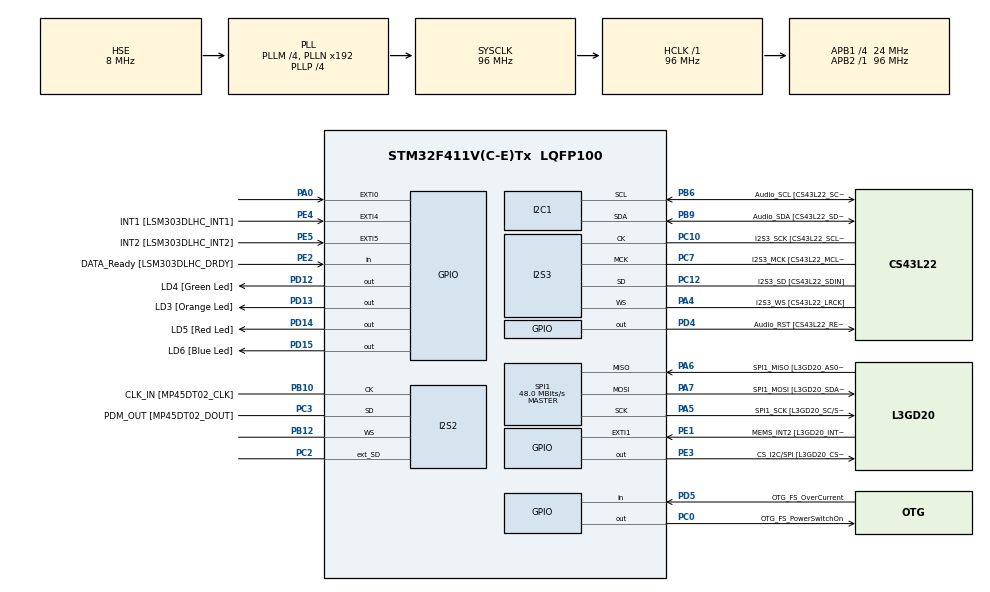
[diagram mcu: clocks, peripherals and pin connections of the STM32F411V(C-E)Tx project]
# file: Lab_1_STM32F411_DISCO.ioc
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I2S2.AudioFreq=I2S_AUDIOFREQ_96K
I2S2.ErrorAudioFreq=0.15 %
I2S2.FullDuplexMode=I2S_FULLDUPLEXMODE_ENABLE
I2S2.Instance=SPI$Index
I2S2.RealAudioFreq=96.153 KHz
I2S2.VirtualMode=I2S_MODE_MASTER
I2S3.AudioFreq=I2S_AUDIOFREQ_96K
I2S3.ErrorAudioFreq=-6.99 %
I2S3.FullDuplexMode=I2S_FULLDUPLEXMODE_DISABLE
I2S3.Instance=SPI$Index
I2S3.RealAudioFreq=89.285 KHz
I2S3.VirtualMode=I2S_MODE_MASTER
Mcu.Family=STM32F4
Mcu.Name=STM32F411V(C-E)Tx
Mcu.Package=LQFP100
NVIC.PriorityGroup=NVIC_PRIORITYGROUP_0
PA0-WKUP.GPIO_ModeDefaultEXTI=GPIO_MODE_EVT_RISING
PA0-WKUP.Signal=GPXTI0
PA10.GPIO_Label=OTG_FS_ID
PA10.Signal=USB_OTG_FS_ID
PA11.GPIO_Label=OTG_FS_DM
PA11.Signal=USB_OTG_FS_DM
PA12.GPIO_Label=OTG_FS_DP
PA12.Signal=USB_OTG_FS_DP
PA13.GPIO_Label=SWDIO
PA13.Mode=Serial_Wire
PA13.Signal=SYS_JTMS-SWDIO
PA14.GPIO_Label=SWCLK
PA14.Mode=Serial_Wire
PA14.Signal=SYS_JTCK-SWCLK
PA4.GPIO_Label=I2S3_WS [CS43L22_LRCK]
PA4.GPIO_Mode=GPIO_MODE_AF_PP
PA4.GPIO_PuPd=GPIO_NOPULL
PA4.GPIO_Speed=GPIO_SPEED_FREQ_LOW
PA4.Mode=Half_Duplex_Master
PA4.Signal=I2S3_WS
PA5.GPIO_Label=SPI1_SCK [L3GD20_SC/SPC]
PA5.Mode=Full_Duplex_Master
PA5.Signal=SPI1_SCK
PA6.GPIO_Label=SPI1_MISO [L3GD20_AS0/SDO]
PA6.Mode=Full_Duplex_Master
PA6.Signal=SPI1_MISO
PA7.GPIO_Label=SPI1_MOSI [L3GD20_SDA/SDI/SDO]
PA7.Mode=Full_Duplex_Master
PA7.Signal=SPI1_MOSI
PA9.GPIO_Label=VBUS_FS
PA9.Signal=USB_OTG_FS_VBUS
PB10.GPIO_Label=CLK_IN [MP45DT02_CLK]
PB10.Mode=Full_Duplex_Master
PB10.Signal=I2S2_CK
PB12.Mode=Full_Duplex_Master
PB12.Signal=I2S2_WS
PB3.GPIO_Label=SWO
PB3.Signal=SYS_JTDO-SWO
PB6.GPIO_Label=Audio_SCL [CS43L22_SCL]
PB6.GPIO_Mode=GPIO_MODE_AF_OD
PB6.GPIO_Pu=GPIO_PULLUP
PB6.GPIO_PuPd=GPIO_NOPULL
PB6.GPIO_Speed=GPIO_SPEED_FREQ_LOW
PB6.Mode=I2C
PB6.Signal=I2C1_SCL
PB9.GPIO_Label=Audio_SDA [CS43L22_SDA]
PB9.GPIO_Mode=GPIO_MODE_AF_OD
PB9.GPIO_Pu=GPIO_PULLUP
PB9.GPIO_PuPd=GPIO_NOPULL
PB9.GPIO_Speed=GPIO_SPEED_FREQ_LOW
PB9.Mode=I2C
PB9.Signal=I2C1_SDA
PC0.GPIO_Label=OTG_FS_PowerSwitchOn
PC0.PinState=GPIO_PIN_SET
PC0.Signal=GPIO_Output
PC10.GPIO_Label=I2S3_SCK [CS43L22_SCLK]
PC10.GPIO_Mode=GPIO_MODE_AF_PP
PC10.GPIO_PuPd=GPIO_NOPULL
PC10.GPIO_Speed=GPIO_SPEED_FREQ_LOW
PC10.Mode=Half_Duplex_Master
PC10.Signal=I2S3_CK
PC12.GPIO_Label=I2S3_SD [CS43L22_SDIN]
PC12.GPIO_Mode=GPIO_MODE_AF_PP
PC12.GPIO_PuPd=GPIO_NOPULL
PC12.GPIO_Speed=GPIO_SPEED_FREQ_LOW
PC12.Mode=Half_Duplex_Master
PC12.Signal=I2S3_SD
PC14-OSC32_IN.GPIO_Label=PC14-OSC32_IN
PC14-OSC32_IN.Mode=LSE-External-Oscillator
PC14-OSC32_IN.Signal=RCC_OSC32_IN
PC15-OSC32_OUT.GPIO_Label=PC15-OSC32_OUT
PC15-OSC32_OUT.Mode=LSE-External-Oscillator
PC15-OSC32_OUT.Signal=RCC_OSC32_OUT
PC2.Mode=Full_Duplex_Master
PC2.Signal=I2S2_ext_SD
PC3.GPIO_Label=PDM_OUT [MP45DT02_DOUT]
PC3.Mode=Full_Duplex_Master
PC3.Signal=I2S2_SD
PC7.GPIO_Label=I2S3_MCK [CS43L22_MCLK]
PC7.GPIO_Mode=GPIO_MODE_AF_PP
PC7.GPIO_PuPd=GPIO_NOPULL
PC7.GPIO_Speed=GPIO_SPEED_FREQ_LOW
PC7.Mode=Master_Clock_Activated
PC7.Signal=I2S3_MCK
PD12.GPIO_Label=LD4 [Green Led]
PD12.GPIO_PuPd=GPIO_NOPULL
PD12.GPIO_Speed=GPIO_SPEED_FREQ_LOW
PD12.Signal=GPIO_Output
PD13.GPIO_Label=LD3 [Orange Led]
PD13.GPIO_PuPd=GPIO_NOPULL
PD13.GPIO_Speed=GPIO_SPEED_FREQ_LOW
PD13.Signal=GPIO_Output
PD14.GPIO_Label=LD5 [Red Led]
PD14.GPIO_PuPd=GPIO_NOPULL
PD14.GPIO_Speed=GPIO_SPEED_FREQ_LOW
PD14.Signal=GPIO_Output
PD15.GPIO_Label=LD6 [Blue Led]
PD15.GPIO_PuPd=GPIO_NOPULL
PD15.GPIO_Speed=GPIO_SPEED_FREQ_LOW
PD15.Signal=GPIO_Output
PD4.GPIO_Label=Audio_RST [CS43L22_RESET]
PD4.Signal=GPIO_Output
PD5.GPIO_Label=OTG_FS_OverCurrent
PD5.Signal=GPIO_Input
PE1.GPIO_Label=MEMS_INT2 [L3GD20_INT2]
PE1.GPIO_ModeDefaultEXTI=GPIO_MODE_EVT_RISING
PE1.Signal=GPXTI1
PE2.GPIO_Label=DATA_Ready [LSM303DLHC_DRDY]
PE2.Signal=GPIO_Input
PE3.GPIO_Label=CS_I2C/SPI [L3GD20_CS_I2C/SPI]
PE3.Signal=GPIO_Output
PE4.GPIO_Label=INT1 [LSM303DLHC_INT1]
PE4.GPIO_ModeDefaultEXTI=GPIO_MODE_EVT_RISING
PE4.Signal=GPXTI4
PE5.GPIO_Label=INT2 [LSM303DLHC_INT2]
PE5.GPIO_ModeDefaultEXTI=GPIO_MODE_EVT_RISING
PE5.Signal=GPXTI5
PH0\ -\ OSC_IN.GPIO_Label=PH0-OSC_IN
PH0\ -\ OSC_IN.Mode=HSE-External-Oscillator
PH0\ -\ OSC_IN.Signal=RCC_OSC_IN
PH1\ -\ OSC_OUT.GPIO_Label=PH1-OSC_OUT
PH1\ -\ OSC_OUT.Mode=HSE-External-Oscillator
PH1\ -\ OSC_OUT.Signal=RCC_OSC_OUT
ProjectManager.HeapSize=0x200
ProjectManager.StackSize=0x400
ProjectManager.TargetToolchain=STM32CubeIDE
RCC.48MHZClocksFreq_Value=48000000
RCC.AHBFreq_Value=96000000
RCC.APB1CLKDivider=RCC_HCLK_DIV4
RCC.APB1Freq_Value=24000000
RCC.APB1TimFreq_Value=48000000
RCC.APB2Freq_Value=96000000
RCC.APB2TimFreq_Value=96000000
RCC.CortexFreq_Value=96000000
RCC.HCLKFreq_Value=96000000
RCC.HSE_VALUE=8000000
RCC.HSI_VALUE=16000000
RCC.PLLI2SM=5
RCC.PLLI2SN=200
RCC.PLLM=4
RCC.PLLP=RCC_PLLP_DIV4
RCC.PLLQ=8
RCC.PLLSourceVirtual=RCC_PLLSOURCE_HSE
RCC.SYSCLKFreq_VALUE=96000000
RCC.SYSCLKSource=RCC_SYSCLKSOURCE_PLLCLK
RCC.VCOOutputFreq_Value=384000000
SPI1.BaudRatePrescaler=SPI_BAUDRATEPRESCALER_2
SPI1.CalculateBaudRate=48.0 MBits/s
SPI1.Direction=SPI_DIRECTION_2LINES
SPI1.Mode=SPI_MODE_MASTER
SPI1.VirtualType=VM_MASTER
board=STM32F411E-DISCO

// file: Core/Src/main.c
/* USER CODE BEGIN Header */
/**
  ******************************************************************************
  * @file           : main.c
  * @brief          : Main program body
  ******************************************************************************
  * @attention
  *
  * Copyright (c) 2025 STMicroelectronics.
  * All rights reserved.
  *
  * This software is licensed under terms that can be found in the LICENSE file
  * in the root directory of this software component.
  * If no LICENSE file comes with this software, it is provided AS-IS.
  *
  ******************************************************************************
  */
/* USER CODE END Header */
#include "main.h"
#include <stdio.h>

/* USER CODE BEGIN PD */
#define ITM_Port32(n) (*((volatile unsigned long *)(0xE0000000+4*n)))
/* USER CODE END PD */

I2C_HandleTypeDef hi2c1;

I2S_HandleTypeDef hi2s2;
I2S_HandleTypeDef hi2s3;

SPI_HandleTypeDef hspi1;

void SystemClock_Config(void);
void PeriphCommonClock_Config(void);
static void MX_GPIO_Init(void);
static void MX_I2C1_Init(void);
static void MX_I2S2_Init(void);
static void MX_I2S3_Init(void);
static void MX_SPI1_Init(void);

/* USER CODE BEGIN 0 */

int _write(int file, char* ptr, int len) {
	int DataIdx;
	for (DataIdx = 0; DataIdx < len; DataIdx++) {
		ITM_SendChar(*ptr++);
	}
	return len;
}

int test_assembly(int a, int b) {
	int res = 0;
	__asm volatile ("ADD %[result], %[input_i], %[input_b]"
		: [result] "=r" (res)
		: [input_i] "r" (a), [input_b] "r" (b)
	);
	return res;
}

void BasicLoopTest(void){
	for(int i; i<2000000;){
		i++;
	}

}

void FloatingExperiment(void) {
	float a = 100.8;
	float b = 0.4;
	float c = a * b;
}

void FixedExperiment(void) {
	int16_t a = 0.5;
	int16_t b = 0.125; // should be 0.125;
	int16_t c = a * b; // leave this as is initially
}

/* USER CODE END 0 */
uint8_t loop = 0;
int main(void)
{

  /* MCU Configuration--------------------------------------------------------*/

  /* Reset of all peripherals, Initializes the Flash interface and the Systick. */
  HAL_Init();

  /* Configure the system clock */
  SystemClock_Config();

  /* Configure the peripherals common clocks */
  PeriphCommonClock_Config();

  /* Initialize all configured peripherals */
  MX_GPIO_Init();
  MX_I2C1_Init();
  MX_I2S2_Init();
  MX_I2S3_Init();
  MX_SPI1_Init();

  /* USER CODE BEGIN 2 */
  HAL_SuspendTick();

  ITM_Port32(31) = 1;
//  BasicLoopTest();
  FloatingExperiment();
  ITM_Port32(31) = 2;
  /* USER CODE END 2 */

  /* Infinite loop */
  /* USER CODE BEGIN WHILE */
//  loop = test_assembly(98, 1);
//  printf(" Lee Evans\nJan 30th, 2025\n\n");
//  printf("Why did the Serial Wire Debug (SWD) interface break up with JTAG? \n\nBecause SWD wanted a single, dedicated connection, but JTAG kept bringing too many lines into the relationship!\n");

  while (1)
  {
    /* USER CODE END WHILE */
	  //	  printf("Hello erff\n");
//	  HAL_GPIO_TogglePin(LD3_GPIO_Port, LD3_Pin);
//	  HAL_Delay(1000);
//
//	  if(loop<100){
//		  loop++;
//	  }else{
//		  loop = 0;
//	  }
  }
}

void SystemClock_Config(void)
{
  RCC_OscInitTypeDef RCC_OscInitStruct = {0};
  RCC_ClkInitTypeDef RCC_ClkInitStruct = {0};

  /** Configure the main internal regulator output voltage
  */
  __HAL_RCC_PWR_CLK_ENABLE();
  __HAL_PWR_VOLTAGESCALING_CONFIG(PWR_REGULATOR_VOLTAGE_SCALE1);

  /** Initializes the RCC Oscillators according to the specified parameters
  * in the RCC_OscInitTypeDef structure.
  */
  RCC_OscInitStruct.OscillatorType = RCC_OSCILLATORTYPE_HSE;
  RCC_OscInitStruct.HSEState = RCC_HSE_ON;
  RCC_OscInitStruct.PLL.PLLState = RCC_PLL_ON;
  RCC_OscInitStruct.PLL.PLLSource = RCC_PLLSOURCE_HSE;
  RCC_OscInitStruct.PLL.PLLM = 4;
  RCC_OscInitStruct.PLL.PLLN = 192;
  RCC_OscInitStruct.PLL.PLLP = RCC_PLLP_DIV4;
  RCC_OscInitStruct.PLL.PLLQ = 8;
  if (HAL_RCC_OscConfig(&RCC_OscInitStruct) != HAL_OK)
  {
    Error_Handler();
  }

  /** Initializes the CPU, AHB and APB buses clocks
  */
  RCC_ClkInitStruct.ClockType = RCC_CLOCKTYPE_HCLK|RCC_CLOCKTYPE_SYSCLK
                              |RCC_CLOCKTYPE_PCLK1|RCC_CLOCKTYPE_PCLK2;
  RCC_ClkInitStruct.SYSCLKSource = RCC_SYSCLKSOURCE_PLLCLK;
  RCC_ClkInitStruct.AHBCLKDivider = RCC_SYSCLK_DIV1;
  RCC_ClkInitStruct.APB1CLKDivider = RCC_HCLK_DIV4;
  RCC_ClkInitStruct.APB2CLKDivider = RCC_HCLK_DIV1;

  if (HAL_RCC_ClockConfig(&RCC_ClkInitStruct, FLASH_LATENCY_3) != HAL_OK)
  {
    Error_Handler();
  }
}

void PeriphCommonClock_Config(void)
{
  RCC_PeriphCLKInitTypeDef PeriphClkInitStruct = {0};

  /** Initializes the peripherals clock
  */
  PeriphClkInitStruct.PeriphClockSelection = RCC_PERIPHCLK_I2S;
  PeriphClkInitStruct.PLLI2S.PLLI2SN = 200;
  PeriphClkInitStruct.PLLI2S.PLLI2SM = 5;
  PeriphClkInitStruct.PLLI2S.PLLI2SR = 2;
  if (HAL_RCCEx_PeriphCLKConfig(&PeriphClkInitStruct) != HAL_OK)
  {
    Error_Handler();
  }
}

static void MX_I2C1_Init(void)
{

  hi2c1.Instance = I2C1;
  hi2c1.Init.ClockSpeed = 100000;
  hi2c1.Init.DutyCycle = I2C_DUTYCYCLE_2;
  hi2c1.Init.OwnAddress1 = 0;
  hi2c1.Init.AddressingMode = I2C_ADDRESSINGMODE_7BIT;
  hi2c1.Init.DualAddressMode = I2C_DUALADDRESS_DISABLE;
  hi2c1.Init.OwnAddress2 = 0;
  hi2c1.Init.GeneralCallMode = I2C_GENERALCALL_DISABLE;
  hi2c1.Init.NoStretchMode = I2C_NOSTRETCH_DISABLE;
  if (HAL_I2C_Init(&hi2c1) != HAL_OK)
  {
    Error_Handler();
  }

}

static void MX_I2S2_Init(void)
{

  hi2s2.Instance = SPI2;
  hi2s2.Init.Mode = I2S_MODE_MASTER_TX;
  hi2s2.Init.Standard = I2S_STANDARD_PHILIPS;
  hi2s2.Init.DataFormat = I2S_DATAFORMAT_16B;
  hi2s2.Init.MCLKOutput = I2S_MCLKOUTPUT_DISABLE;
  hi2s2.Init.AudioFreq = I2S_AUDIOFREQ_96K;
  hi2s2.Init.CPOL = I2S_CPOL_LOW;
  hi2s2.Init.ClockSource = I2S_CLOCK_PLL;
  hi2s2.Init.FullDuplexMode = I2S_FULLDUPLEXMODE_ENABLE;
  if (HAL_I2S_Init(&hi2s2) != HAL_OK)
  {
    Error_Handler();
  }

}

static void MX_I2S3_Init(void)
{

  hi2s3.Instance = SPI3;
  hi2s3.Init.Mode = I2S_MODE_MASTER_TX;
  hi2s3.Init.Standard = I2S_STANDARD_PHILIPS;
  hi2s3.Init.DataFormat = I2S_DATAFORMAT_16B;
  hi2s3.Init.MCLKOutput = I2S_MCLKOUTPUT_ENABLE;
  hi2s3.Init.AudioFreq = I2S_AUDIOFREQ_96K;
  hi2s3.Init.CPOL = I2S_CPOL_LOW;
  hi2s3.Init.ClockSource = I2S_CLOCK_PLL;
  hi2s3.Init.FullDuplexMode = I2S_FULLDUPLEXMODE_DISABLE;
  if (HAL_I2S_Init(&hi2s3) != HAL_OK)
  {
    Error_Handler();
  }

}

static void MX_SPI1_Init(void)
{

  /* SPI1 parameter configuration*/
  hspi1.Instance = SPI1;
  hspi1.Init.Mode = SPI_MODE_MASTER;
  hspi1.Init.Direction = SPI_DIRECTION_2LINES;
  hspi1.Init.DataSize = SPI_DATASIZE_8BIT;
  hspi1.Init.CLKPolarity = SPI_POLARITY_LOW;
  hspi1.Init.CLKPhase = SPI_PHASE_1EDGE;
  hspi1.Init.NSS = SPI_NSS_SOFT;
  hspi1.Init.BaudRatePrescaler = SPI_BAUDRATEPRESCALER_2;
  hspi1.Init.FirstBit = SPI_FIRSTBIT_MSB;
  hspi1.Init.TIMode = SPI_TIMODE_DISABLE;
  hspi1.Init.CRCCalculation = SPI_CRCCALCULATION_DISABLE;
  hspi1.Init.CRCPolynomial = 10;
  if (HAL_SPI_Init(&hspi1) != HAL_OK)
  {
    Error_Handler();
  }

}

static void MX_GPIO_Init(void)
{
  GPIO_InitTypeDef GPIO_InitStruct = {0};

  /* GPIO Ports Clock Enable */
  __HAL_RCC_GPIOE_CLK_ENABLE();
  __HAL_RCC_GPIOC_CLK_ENABLE();
  __HAL_RCC_GPIOH_CLK_ENABLE();
  __HAL_RCC_GPIOA_CLK_ENABLE();
  __HAL_RCC_GPIOB_CLK_ENABLE();
  __HAL_RCC_GPIOD_CLK_ENABLE();

  /*Configure GPIO pin Output Level */
  HAL_GPIO_WritePin(CS_I2C_SPI_GPIO_Port, CS_I2C_SPI_Pin, GPIO_PIN_RESET);

  /*Configure GPIO pin Output Level */
  HAL_GPIO_WritePin(OTG_FS_PowerSwitchOn_GPIO_Port, OTG_FS_PowerSwitchOn_Pin, GPIO_PIN_SET);

  /*Configure GPIO pin Output Level */
  HAL_GPIO_WritePin(GPIOD, LD4_Pin|LD3_Pin|LD5_Pin|LD6_Pin
                          |Audio_RST_Pin, GPIO_PIN_RESET);

  /*Configure GPIO pin : DATA_Ready_Pin */
  GPIO_InitStruct.Pin = DATA_Ready_Pin;
  GPIO_InitStruct.Mode = GPIO_MODE_INPUT;
  GPIO_InitStruct.Pull = GPIO_NOPULL;
  HAL_GPIO_Init(DATA_Ready_GPIO_Port, &GPIO_InitStruct);

  /*Configure GPIO pin : CS_I2C_SPI_Pin */
  GPIO_InitStruct.Pin = CS_I2C_SPI_Pin;
  GPIO_InitStruct.Mode = GPIO_MODE_OUTPUT_PP;
  GPIO_InitStruct.Pull = GPIO_NOPULL;
  GPIO_InitStruct.Speed = GPIO_SPEED_FREQ_LOW;
  HAL_GPIO_Init(CS_I2C_SPI_GPIO_Port, &GPIO_InitStruct);

  /*Configure GPIO pins : INT1_Pin INT2_Pin MEMS_INT2_Pin */
  GPIO_InitStruct.Pin = INT1_Pin|INT2_Pin|MEMS_INT2_Pin;
  GPIO_InitStruct.Mode = GPIO_MODE_EVT_RISING;
  GPIO_InitStruct.Pull = GPIO_NOPULL;
  HAL_GPIO_Init(GPIOE, &GPIO_InitStruct);

  /*Configure GPIO pin : OTG_FS_PowerSwitchOn_Pin */
  GPIO_InitStruct.Pin = OTG_FS_PowerSwitchOn_Pin;
  GPIO_InitStruct.Mode = GPIO_MODE_OUTPUT_PP;
  GPIO_InitStruct.Pull = GPIO_NOPULL;
  GPIO_InitStruct.Speed = GPIO_SPEED_FREQ_LOW;
  HAL_GPIO_Init(OTG_FS_PowerSwitchOn_GPIO_Port, &GPIO_InitStruct);

  /*Configure GPIO pin : PA0 */
  GPIO_InitStruct.Pin = GPIO_PIN_0;
  GPIO_InitStruct.Mode = GPIO_MODE_EVT_RISING;
  GPIO_InitStruct.Pull = GPIO_NOPULL;
  HAL_GPIO_Init(GPIOA, &GPIO_InitStruct);

  /*Configure GPIO pins : LD4_Pin LD3_Pin LD5_Pin LD6_Pin
                           Audio_RST_Pin */
  GPIO_InitStruct.Pin = LD4_Pin|LD3_Pin|LD5_Pin|LD6_Pin
                          |Audio_RST_Pin;
  GPIO_InitStruct.Mode = GPIO_MODE_OUTPUT_PP;
  GPIO_InitStruct.Pull = GPIO_NOPULL;
  GPIO_InitStruct.Speed = GPIO_SPEED_FREQ_LOW;
  HAL_GPIO_Init(GPIOD, &GPIO_InitStruct);

  /*Configure GPIO pin : VBUS_FS_Pin */
  GPIO_InitStruct.Pin = VBUS_FS_Pin;
  GPIO_InitStruct.Mode = GPIO_MODE_INPUT;
  GPIO_InitStruct.Pull = GPIO_NOPULL;
  HAL_GPIO_Init(VBUS_FS_GPIO_Port, &GPIO_InitStruct);

  /*Configure GPIO pins : OTG_FS_ID_Pin OTG_FS_DM_Pin OTG_FS_DP_Pin */
  GPIO_InitStruct.Pin = OTG_FS_ID_Pin|OTG_FS_DM_Pin|OTG_FS_DP_Pin;
  GPIO_InitStruct.Mode = GPIO_MODE_AF_PP;
  GPIO_InitStruct.Pull = GPIO_NOPULL;
  GPIO_InitStruct.Speed = GPIO_SPEED_FREQ_VERY_HIGH;
  GPIO_InitStruct.Alternate = GPIO_AF10_OTG_FS;
  HAL_GPIO_Init(GPIOA, &GPIO_InitStruct);

  /*Configure GPIO pin : OTG_FS_OverCurrent_Pin */
  GPIO_InitStruct.Pin = OTG_FS_OverCurrent_Pin;
  GPIO_InitStruct.Mode = GPIO_MODE_INPUT;
  GPIO_InitStruct.Pull = GPIO_NOPULL;
  HAL_GPIO_Init(OTG_FS_OverCurrent_GPIO_Port, &GPIO_InitStruct);

}

void Error_Handler(void)
{
  __disable_irq();
  while (1)
  {
  }
}
